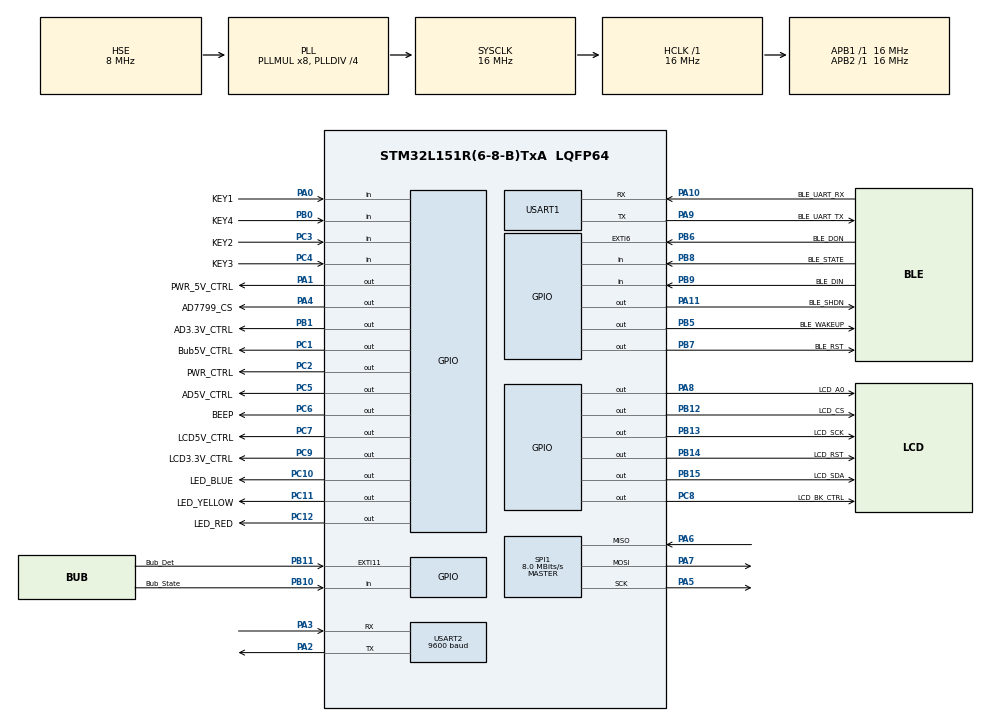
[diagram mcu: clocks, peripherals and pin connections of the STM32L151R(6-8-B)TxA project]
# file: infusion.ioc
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Mcu.Family=STM32L1
PA6.Mode=Full_Duplex_Master
PH0-OSC_IN.Signal=RCC_OSC_IN
SPI1.VirtualType=VM_MASTER
PC10.Signal=GPIO_Output
PC12.Signal=GPIO_Output
PB14.GPIO_Label=LCD_RST
PB6.GPIO_ModeDefaultEXTI=GPIO_MODE_IT_RISING_FALLING
PC6.GPIO_Label=BEEP
PB0.GPIO_Label=KEY4
PB6.GPIO_Label=BLE_DON
PC10.GPIO_Speed=GPIO_SPEED_FREQ_MEDIUM
PA11.GPIO_PuPd=GPIO_PULLUP
PB13.GPIO_Label=LCD_SCK
PB11.Signal=GPXTI11
PB13.Signal=GPIO_Output
PB15.Signal=GPIO_Output
RCC.SYSCLKSource=RCC_SYSCLKSOURCE_PLLCLK
ProjectManager.StackSize=0x400
PC8.PinState=GPIO_PIN_SET
Dma.USART1_TX.0.Priority=DMA_PRIORITY_LOW
RCC.PLLDIV=RCC_PLL_DIV4
SPI1.CLKPolarity=SPI_POLARITY_HIGH
Dma.USART1_TX.0.Direction=DMA_MEMORY_TO_PERIPH
SPI1.Direction=SPI_DIRECTION_2LINES
PB1.GPIO_PuPd=GPIO_PULLUP
RCC.HCLKFreq_Value=16000000
RCC.APB2TimFreq_Value=16000000
PB6.Signal=GPXTI6
PC7.Signal=GPIO_Output
PB12.PinState=GPIO_PIN_SET
SPI1.CalculateBaudRate=8.0 MBits/s
PC3.Signal=GPIO_Input
PC1.PinState=GPIO_PIN_SET
PA1.GPIO_PuPd=GPIO_PULLUP
RCC.AHBFreq_Value=16000000
PH0-OSC_IN.Mode=HSE-External-Oscillator
NVIC.EXTI15_10_IRQn=true\:0\:0\:true\:false\:true\:true\:true
RCC.HSE_VALUE=8000000
PA4.GPIO_PuPd=GPIO_NOPULL
PC1.GPIO_PuPd=GPIO_PULLUP
RCC.PLLMUL=RCC_PLL_MUL8
PB12.GPIO_Label=LCD_CS
PC4.GPIO_Label=KEY3
PA14.Mode=Serial_Wire
PB1.GPIO_Label=AD3.3V_CTRL
PC11.GPIO_Label=LED_YELLOW
PA10.GPIO_Label=BLE_UART_RX
PC7.PinState=GPIO_PIN_SET
PC11.GPIO_Speed=GPIO_SPEED_FREQ_MEDIUM
PB7.Signal=GPIO_Output
PA8.Signal=GPIO_Output
PC10.PinState=GPIO_PIN_SET
Dma.USART1_TX.0.PeriphDataAlignment=DMA_PDATAALIGN_BYTE
PB1.PinState=GPIO_PIN_SET
PH1-OSC_OUT.Mode=HSE-External-Oscillator
PB7.GPIO_Label=BLE_RST
Mcu.Package=LQFP64
PB9.Signal=GPIO_Input
PB14.GPIO_PuPd=GPIO_PULLUP
PB1.Signal=GPIO_Output
PA6.Signal=SPI1_MISO
PB15.GPIO_PuPd=GPIO_PULLUP
USART2.VirtualMode=VM_ASYNC
PB11.GPIO_ModeDefaultEXTI=GPIO_MODE_IT_FALLING
PA10.Signal=USART1_RX
Dma.USART1_TX.0.Instance=DMA1_Channel4
PC6.GPIO_PuPd=GPIO_PULLUP
PA1.PinState=GPIO_PIN_SET
PB5.GPIO_Label=BLE_WAKEUP
RCC.APB1TimFreq_Value=16000000
PC5.Signal=GPIO_Output
NVIC.DMA1_Channel4_IRQn=true\:0\:0\:false\:false\:true\:false\:true
NVIC.USART1_IRQn=true\:1\:0\:true\:false\:true\:true\:true
Dma.Request0=USART1_TX
PA4.GPIO_Label=AD7799_CS
PC6.GPIO_Speed=GPIO_SPEED_FREQ_LOW
PC2.GPIO_Label=PWR_CTRL
PA8.PinState=GPIO_PIN_SET
PA3.Signal=USART2_RX
PA5.Mode=Full_Duplex_Master
RCC.MSI_VALUE=2097000
RCC.PLLSourceVirtual=RCC_PLLSOURCE_HSE
Dma.USART1_TX.0.MemInc=DMA_MINC_ENABLE
PA7.Mode=Full_Duplex_Master
PB9.GPIO_Label=BLE_DIN
Dma.USART1_TX.0.PeriphInc=DMA_PINC_DISABLE
PA10.Mode=Asynchronous
PC10.GPIO_Label=LED_BLUE
PC9.GPIO_Label=LCD3.3V_CTRL
PA9.GPIO_Label=BLE_UART_TX
PC11.Signal=GPIO_Output
PC8.Signal=GPIO_Output
PC2.Signal=GPIO_Output
PC4.Signal=GPIO_Input
PC6.Signal=GPIO_Output
PB11.GPIO_Label=Bub_Det
PC9.PinState=GPIO_PIN_SET
PA11.GPIO_Label=BLE_SHDN
SPI1.CLKPhase=SPI_PHASE_2EDGE
PC5.GPIO_PuPd=GPIO_PULLUP
NVIC.USART2_IRQn=true\:7\:0\:true\:false\:true\:true\:true
USART2.BaudRate=9600
PC8.GPIO_Label=LCD_BK_CTRL
PA3.Mode=Asynchronous
PA13.Signal=SYS_JTMS-SWDIO
PB8.GPIO_Label=BLE_STATE
PA9.Mode=Asynchronous
PA8.GPIO_Label=LCD_A0
PB14.PinState=GPIO_PIN_SET
PA4.PinState=GPIO_PIN_SET
PC12.PinState=GPIO_PIN_SET
ProjectManager.TargetToolchain=MDK-ARM V5.27
PB10.GPIO_Label=Bub_State
PA9.Signal=USART1_TX
PA0-WKUP1.Signal=GPIO_Input
PB13.GPIO_Speed=GPIO_SPEED_FREQ_VERY_HIGH
PC7.GPIO_PuPd=GPIO_PULLUP
RCC.LSE_VALUE=32768
PA1.Signal=GPIO_Output
PB12.GPIO_Speed=GPIO_SPEED_FREQ_LOW
PB10.Signal=GPIO_Input
PB14.Signal=GPIO_Output
PA5.Signal=SPI1_SCK
Dma.USART1_TX.0.Mode=DMA_NORMAL
board=custom
RCC.VCOOutputFreq_Value=64000000
PB13.GPIO_PuPd=GPIO_PULLUP
RCC.APB2Freq_Value=16000000
PC11.PinState=GPIO_PIN_SET
PB15.GPIO_Label=LCD_SDA
SPI1.Mode=SPI_MODE_MASTER
PB15.GPIO_Speed=GPIO_SPEED_FREQ_VERY_HIGH
PA1.GPIO_Label=PWR_5V_CTRL
PC1.GPIO_Label=Bub5V_CTRL
PC9.GPIO_PuPd=GPIO_PULLUP
PH1-OSC_OUT.Signal=RCC_OSC_OUT
PC2.GPIO_PuPd=GPIO_PULLUP
PA13.Mode=Serial_Wire
Mcu.Name=STM32L151R(6-8-B)TxA
PA2.Signal=USART2_TX
PC7.GPIO_Label=LCD5V_CTRL
RCC.48MHZClocksFreq_Value=32000000
PC8.GPIO_PuPd=GPIO_PULLUP
PA4.Signal=GPIO_Output
RCC.SYSCLKFreq_VALUE=16000000
PB5.Signal=GPIO_Output
PC2.PinState=GPIO_PIN_SET
PC5.GPIO_Label=AD5V_CTRL
PC12.GPIO_Label=LED_RED
USART1.VirtualMode=VM_ASYNC
PA11.Signal=GPIO_Output
Dma.USART1_TX.0.MemDataAlignment=DMA_MDATAALIGN_BYTE
NVIC.EXTI9_5_IRQn=true\:0\:0\:false\:false\:true\:true\:true
PA14.Signal=SYS_JTCK-SWCLK
PA0-WKUP1.GPIO_Label=KEY1
ProjectManager.HeapSize=0x200
RCC.HSI_VALUE=16000000
NVIC.PriorityGroup=NVIC_PRIORITYGROUP_4
PA2.Mode=Asynchronous
PB8.Signal=GPIO_Input
PC3.GPIO_Label=KEY2
PC9.Signal=GPIO_Output
PB1.GPIO_ModeDefaultOutputPP=GPIO_MODE_OUTPUT_PP
PB12.GPIO_PuPd=GPIO_NOPULL
RCC.APB1Freq_Value=16000000
PC12.GPIO_Speed=GPIO_SPEED_FREQ_MEDIUM
PB0.Signal=GPIO_Input
PC1.Signal=GPIO_Output
PB12.Signal=GPIO_Output
PA7.Signal=SPI1_MOSI

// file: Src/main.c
/* USER CODE BEGIN Header */
/**
  ******************************************************************************
  * @file           : main.c
  * @brief          : Main program body
  ******************************************************************************
  * @attention
  *
  * <h2><center>&copy; Copyright (c) 2020 STMicroelectronics.
  * All rights reserved.</center></h2>
  *
  * This software component is licensed by ST under BSD 3-Clause license,
  * the "License"; You may not use this file except in compliance with the
  * License. You may obtain a copy of the License at:
  *                        opensource.org/licenses/BSD-3-Clause
  *
  ******************************************************************************
  */
/* USER CODE END Header */

#include "main.h"
#include "dma.h"
#include "spi.h"
#include "usart.h"
#include "gpio.h"

/* USER CODE BEGIN Includes */
#include "bsp.h"
#include "TaskManage.h"
#include "sys_data.h"
/* USER CODE END Includes */

void SystemClock_Config(void);

/* USER CODE BEGIN 0 */
u8 power_key_cnt;
/* USER CODE END 0 */

int main(void)
{

  /* MCU Configuration--------------------------------------------------------*/

  /* Reset of all peripherals, Initializes the Flash interface and the Systick. */
  HAL_Init();

  /* USER CODE BEGIN Init */
delay_ms(2);
  /* USER CODE END Init */

  /* Configure the system clock */
  SystemClock_Config();

  /* USER CODE BEGIN SysInit */
PWRCTRL_SYSON();
  /* USER CODE END SysInit */

  /* Initialize all configured peripherals */
  MX_GPIO_Init();
  MX_DMA_Init();
  MX_SPI1_Init();
  MX_USART1_UART_Init();
  MX_USART2_UART_Init();
  /* USER CODE BEGIN 2 */
  for(;;)	{
	if(!HAL_GPIO_ReadPin(KEY1_GPIO_Port, KEY1_Pin))	{//长按2s电源键开机
		power_key_cnt++;
		if(power_key_cnt>20)	{
			break;
		}
	}else	{
		power_key_cnt=0;
		PWRCTRL_SYSOFF();
	}
	delay_ms(100);
  }
bsp_poweron();
bsp_selftest();
SysDataInit();
ReadUserDataFromEEPROM();//从eeprom读取系统信息，系统设置参数，称重参数等
bsp_init();
SysTaskInit();
//lcd12864_test();
ble_getmac();
ble_getfwver();
ble_setadvinter(6);
  /* USER CODE END 2 */

  /* Infinite loop */
  /* USER CODE BEGIN WHILE */
  while (1)
  {
	  RunTask();
    /* USER CODE END WHILE */

  }
}

void SystemClock_Config(void)
{
  RCC_OscInitTypeDef RCC_OscInitStruct = {0};
  RCC_ClkInitTypeDef RCC_ClkInitStruct = {0};

  /** Configure the main internal regulator output voltage
  */
  __HAL_PWR_VOLTAGESCALING_CONFIG(PWR_REGULATOR_VOLTAGE_SCALE1);
  /** Initializes the CPU, AHB and APB busses clocks
  */
  RCC_OscInitStruct.OscillatorType = RCC_OSCILLATORTYPE_HSE;
  RCC_OscInitStruct.HSEState = RCC_HSE_ON;
  RCC_OscInitStruct.PLL.PLLState = RCC_PLL_ON;
  RCC_OscInitStruct.PLL.PLLSource = RCC_PLLSOURCE_HSE;
  RCC_OscInitStruct.PLL.PLLMUL = RCC_PLL_MUL8;
  RCC_OscInitStruct.PLL.PLLDIV = RCC_PLL_DIV4;
  if (HAL_RCC_OscConfig(&RCC_OscInitStruct) != HAL_OK)
  {
    Error_Handler();
  }
  /** Initializes the CPU, AHB and APB busses clocks
  */
  RCC_ClkInitStruct.ClockType = RCC_CLOCKTYPE_HCLK|RCC_CLOCKTYPE_SYSCLK
                              |RCC_CLOCKTYPE_PCLK1|RCC_CLOCKTYPE_PCLK2;
  RCC_ClkInitStruct.SYSCLKSource = RCC_SYSCLKSOURCE_PLLCLK;
  RCC_ClkInitStruct.AHBCLKDivider = RCC_SYSCLK_DIV1;
  RCC_ClkInitStruct.APB1CLKDivider = RCC_HCLK_DIV1;
  RCC_ClkInitStruct.APB2CLKDivider = RCC_HCLK_DIV1;

  if (HAL_RCC_ClockConfig(&RCC_ClkInitStruct, FLASH_LATENCY_0) != HAL_OK)
  {
    Error_Handler();
  }
}

void Error_Handler(void)
{
}

/************************ (C) COPYRIGHT STMicroelectronics *****END OF FILE****/
